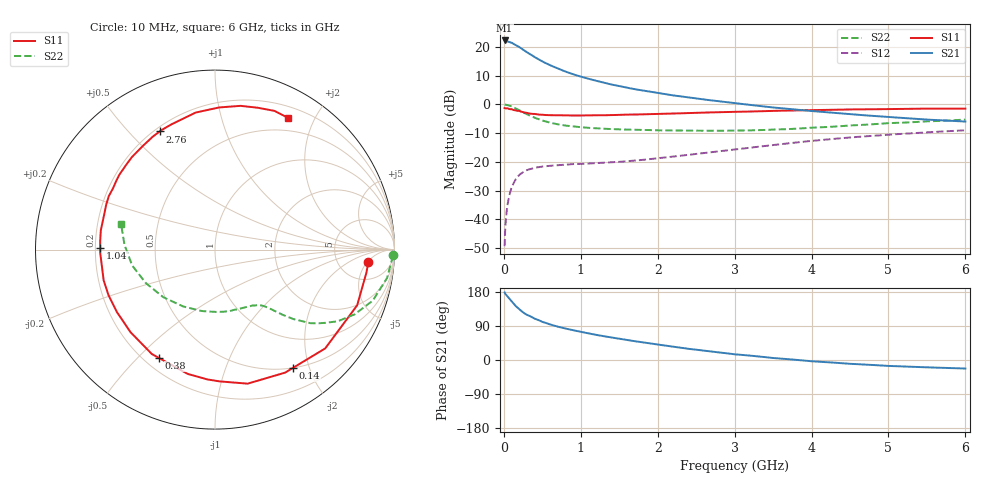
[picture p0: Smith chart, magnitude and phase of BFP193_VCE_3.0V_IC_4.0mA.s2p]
! Infineon Technologies  Discrete & RF Semiconductors
! BFP193
! VCE = 3.0 V,  IC =  4.0 mA
! Common Emitter S-Parameters:  Jan 2016
# GHz  S  MA  R  50
!  f  S11  S21  S12  S22
! GHz  MAG  ANG  MAG  ANG  MAG  ANG  MAG  ANG
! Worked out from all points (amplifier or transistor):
!   210 points, 10 MHz to 6 GHz, reference 50 ohm
!   highest |S21| = 22.2 dB at 10 MHz (marker M1)
!   |S21| within 3 dB of that: start of sweep to 239.1 MHz
!   unconditionally stable (mu >= 1): 1.334 GHz to 3.482 GHz
!   at 185 MHz: K = 0.18, MSG = 22.6 dB, |S12| = -25.1 dB
!   at 1.52 GHz: K = 1.06, MAG = 11.6 dB, |S12| = -20.0 dB
!   at 6 GHz: K = 0.93, MSG = 1.5 dB, |S12| = -9.0 dB
!   S11 on the Smith chart (normalised r, x): 10 MHz: 10, -5; 140 MHz: 0.50, -1.75; 380 MHz: 0.26, -0.58; 1.04 GHz: 0.22, +0.01; 2.76 GHz: 0.22, +0.61; 6 GHz: 0.33, +1.64
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0.01  0.8573 -4.5  12.9 178.3  0.0034 89.4  0.9912 -1.9
0.02  0.8532 -8.7  12.63 174.3  0.0075 83.9  0.9858 -3.7
0.05  0.8507 -21.4  12.4 166.7  0.0186 79.1  0.972 -9.3
0.1  0.8247 -41.9  11.85 154.7  0.0355 69.0  0.9241 -17.9
0.14  0.7893 -56.5  10.98 145.5  0.0458 61.0  0.8694 -23.4
0.15  0.7889 -60.3  10.81 143.0  0.0485 59.5  0.8571 -24.9
0.2  0.7687 -76.3  9.927 134.0  0.0589 52.8  0.7919 -30.3
0.24  0.7347 -88.0  9.117 127.3  0.0646 48.0  0.7373 -33.6
0.3  0.7091 -102.4  8.047 119.2  0.0717 42.6  0.6702 -37.7
0.38  0.6796 -117.3  6.895 111.5  0.0772 37.6  0.5998 -40.7
0.5  0.6583 -135.6  5.548 100.7  0.0828 32.5  0.522 -44.0
0.6  0.6478 -147.5  4.79 93.9  0.0851 30.2  0.4782 -45.7
0.8  0.6435 -164.6  3.712 83.1  0.0894 28.3  0.4261 -48.3
1.02  0.6397 -179.6  2.976 73.5  0.0918 28.2  0.3977 -51.2
1.04  0.6398 179.2  2.926 72.7  0.0922 28.3  0.3957 -51.6
1.4  0.6486 161.5  2.207 59.4  0.0975 31.2  0.3718 -58.1
2.02  0.6822 137.6  1.562 40.3  0.1159 37.5  0.3522 -72.2
2.76  0.7267 115.1  1.146 20.9  0.1505 41.1  0.3467 -94.1
3.1  0.7431 106.8  1.011 13.4  0.1706 40.7  0.35 -105.6
4.1  0.7952 86.6  0.745 -4.5  0.2375 34.4  0.3962 -141.1
5.1  0.8276 72.0  0.589 -16.3  0.3016 23.4  0.4744 -172.0
6  0.8395 61.2  0.501 -22.5  0.3532 12.2  0.5413 165.0
